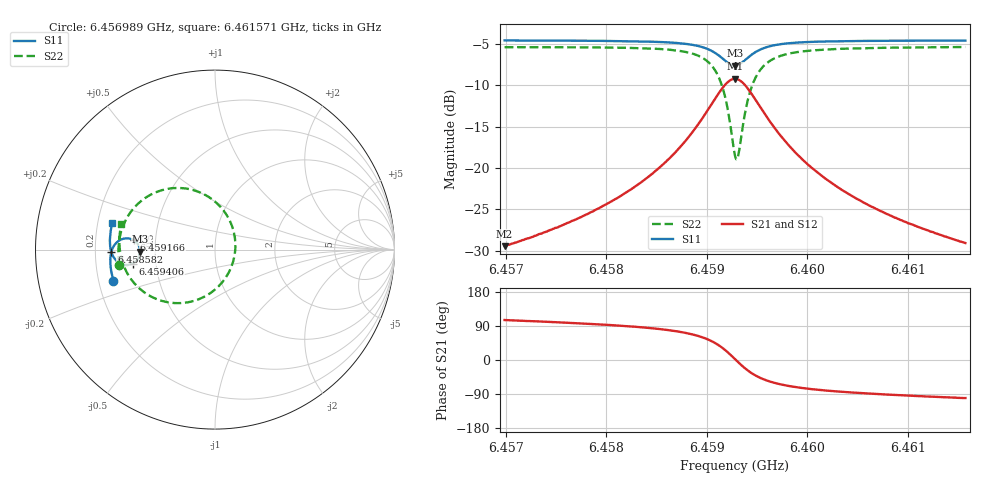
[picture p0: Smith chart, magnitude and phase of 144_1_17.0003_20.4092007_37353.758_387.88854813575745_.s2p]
#  HZ  S  RI  R  50.00
! Rohde & Schwarz Vector Network Analyzer
! Rohde-Schwarz,ZNB20-2Port,1311601062101988,3.16
! Created: UTC 3/20/2024, 10:58:28 PM
! freq[Hz]  re:S11  im:S11  re:S21  im:S21  re:S12  im:S12  re:S22  im:S22
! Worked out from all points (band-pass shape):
!   401 points, 6.456989 GHz to 6.461571 GHz, reference 50 ohm
!   highest |S21| = -9.19 dB at 6.45928 GHz (marker M1); lowest = -29.4 dB at 6.456989 GHz (marker M2)
!   |S21| within 3 dB of the highest: 6.459051 GHz to 6.459509 GHz (457.6 kHz wide, 0.00708 % of centre)
!   lowest |S11| = -7.6 dB at 6.45928 GHz (marker M3), VSWR 2.43, Z = 20.6 - j0.579 ohm
!   |S11| at or under -10 dB: nowhere
!   |S22| runs from -18.9 to -5.3 dB; largest |S21 - S12| = 0.013
!   S11 on the Smith chart (normalised r, x): 6.456989 GHz: 0.26, -0.14; 6.458582 GHz: 0.27, -0.01; 6.459166 GHz: 0.37, +0.05; 6.459406 GHz: 0.37, -0.07; 6.461571 GHz: 0.26, +0.12
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6.4569894e9  -0.5663 -0.1727  -0.009 0.0325  -0.00729 0.0326  -0.5326 -0.0844
6.4577569e9  -0.5804 -0.1055  -0.00566 0.0505  -0.00306 0.05  -0.5379 0.00564
6.4581807e9  -0.5833 -0.063  0.000272 0.0702  0.0036 0.0688  -0.5297 0.0729
6.4585244e9  -0.5795 -0.0216  0.0142 0.0992  0.0181 0.0965  -0.5042 0.1505
6.4585816e9  -0.5776 -0.0136  0.0185 0.1061  0.0226 0.103  -0.496 0.1672
6.4587878e9  -0.5646 0.0185  0.0461 0.1386  0.0503 0.1338  -0.4445 0.2401
6.4589367e9  -0.5419 0.0449  0.0917 0.1694  0.0948 0.1628  -0.3606 0.3047
6.4590742e9  -0.4977 0.0626  0.1793 0.186  0.1802 0.1787  -0.2006 0.3432
6.4591658e9  -0.4529 0.0521  0.2699 0.1546  0.2699 0.1488  -0.0335 0.2925
6.4592345e9  -0.4235 0.0197  0.3305 0.0821  0.3326 0.0769  0.0821 0.1621
6.4592804e9  -0.4168 -0.0116  0.3468 0.014  0.3505 0.00701  0.1136 0.0345
6.4592918e9  -0.4172 -0.0197  0.3464 -0.00398  0.3504 -0.0116  0.1132 0.000677
6.4593147e9  -0.4207 -0.0354  0.3408 -0.0388  0.3447 -0.0478  0.1016 -0.0651
6.4593605e9  -0.4365 -0.0616  0.312 -0.0988  0.3142 -0.1108  0.0434 -0.1783
6.4594064e9  -0.4586 -0.078  0.2696 -0.1399  0.269 -0.1531  -0.0422 -0.2529
6.459498e9  -0.5023 -0.0849  0.1846 -0.1711  0.1784 -0.1824  -0.2111 -0.2983
6.4596469e9  -0.5463 -0.0645  0.0966 -0.1571  0.0881 -0.1632  -0.3785 -0.2485
6.4598073e9  -0.568 -0.0368  0.0516 -0.1291  0.0441 -0.1318  -0.459 -0.1764
6.4600478e9  -0.5809 -0.00122  0.0224 -0.0974  0.0167 -0.098  -0.5069 -0.0942
6.46038e9  -0.5854 0.0385  0.00674 -0.0713  0.00263 -0.0708  -0.528 -0.0172
6.4608153e9  -0.5837 0.0822  -0.00133 -0.052  -0.0042 -0.0511  -0.5327 0.053
6.4615713e9  -0.5719 0.1494  -0.00634 -0.0347  -0.0081 -0.0338  -0.5215 0.1424
